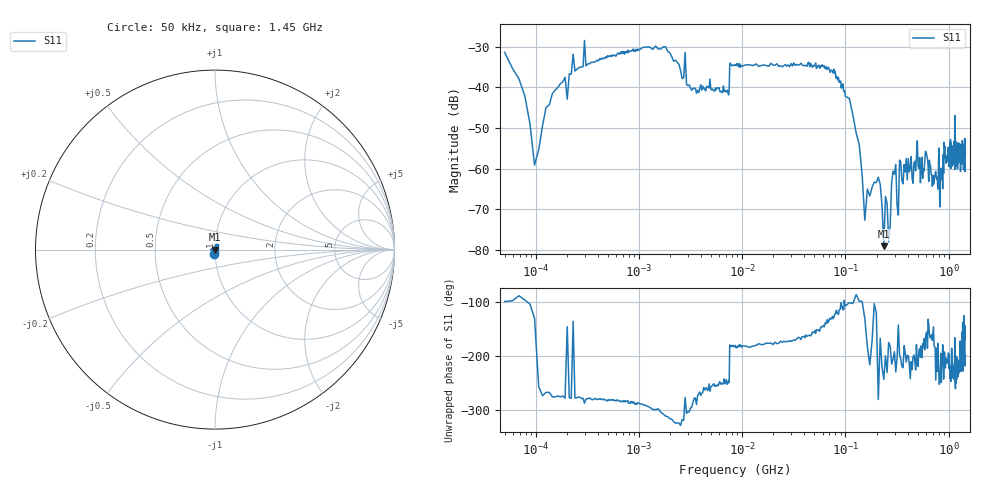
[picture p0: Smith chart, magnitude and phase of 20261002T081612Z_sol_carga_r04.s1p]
! prueba_sol / sol_carga / r04
# HZ S RI R 50
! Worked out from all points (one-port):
!   501 points, 50 kHz to 1.45 GHz, reference 50 ohm
!   lowest |S11| = -79.0 dB at 235 MHz (marker M1), VSWR 1.00, Z = 50 + j0.01 ohm
!   |S11| at or under -10 dB: start of sweep to end of sweep
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50000  -0.00459 -0.0265
107000  -0.00038 0.00167
183000  0.000856 0.0117
278000  0.00273 0.0176
658000  0.00608 0.025
1630000  0.0167 0.0246
2440000  0.0155 0.0112
3430000  0.00139 0.00966
7210000  -0.00316 0.00864
7750000  -0.019 0.000918
8560000  -0.0188 0.000308
3.16e7  -0.0197 -0.00313
7.84e7  -0.00821 -0.0122
1.18e8  -0.00105 -0.00443
1.63e8  -0.000561 3.9e-05
1.99e8  -0.000353 -0.000573
2.35e8  -5e-05 0.0001
2.53e8  -0.000238 0.000293
2.98e8  -0.000837 0.000185
4.06e8  -0.00125 0.000456
5.5e8  -0.00126 0.000556
6.04e8  -0.00149 -0.000575
8.29e8  -0.000496 0.000652
9.19e8  -0.00163 0.000949
1.0855e9  -0.00134 0.000916
1.153e9  -0.00384 0.000487
1.3915e9  -0.000768 -0.000598
1.45e9  -0.00144 0.00051
